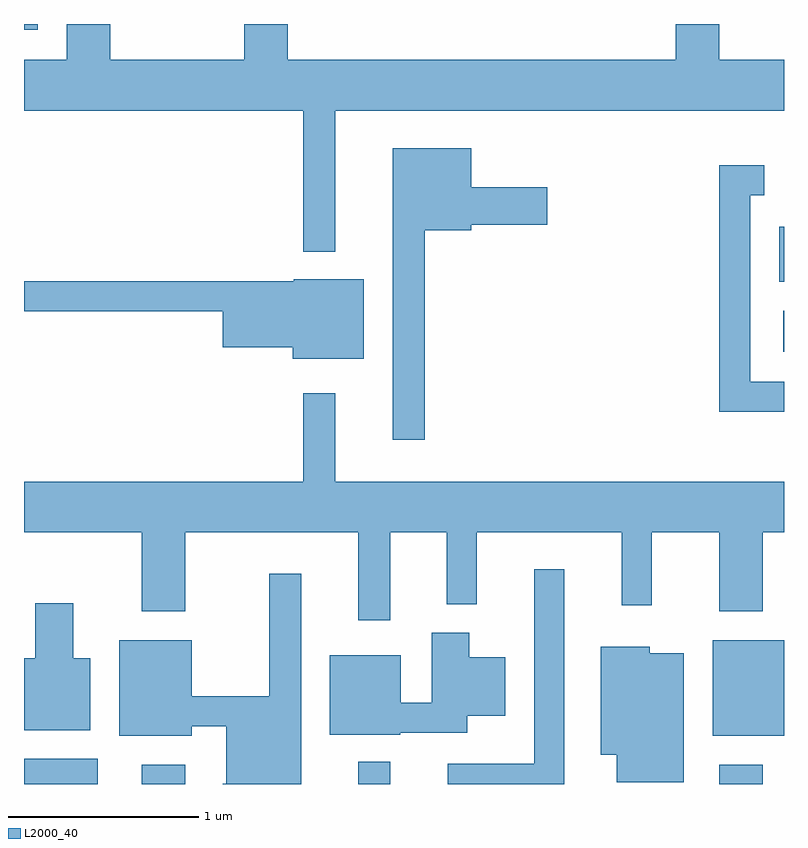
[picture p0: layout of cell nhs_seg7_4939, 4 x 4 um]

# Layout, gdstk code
import gdstk
lib = gdstk.Library(unit=1e-6, precision=1e-09)
def R(c, l, rs):  # rectangles x0, y0, x1, y1
    for r in rs: c.add(gdstk.rectangle(r[:2], r[2:], *l))
def P(c, l, *ps):  # polygons
    for p in ps: c.add(gdstk.Polygon(p, *l))
L2000_40 = (2000, 40)

nhs_seg7_4939 = lib.new_cell('nhs_seg7_4939')
R(nhs_seg7_4939, L2000_40, [(335.611,1786.252,335.999,1786.384), (336.231,1786.252,336.459,1786.354), (337.371,1786.252,337.539,1786.368), (339.271,1786.252,339.499,1786.354), (339.236,1786.506,339.611,1787.009), (339.606,1788.526,339.611,1788.744), (339.586,1788.896,339.611,1789.184), (335.611,1790.221,335.684,1790.252)])
P(nhs_seg7_4939, L2000_40, [(337.249,1789.796),(339.611,1789.796),(339.611,1790.064),(339.269,1790.064),(339.269,1790.252),(339.041,1790.252),(339.041,1790.064),(336.999,1790.064),(336.999,1790.252),(336.771,1790.252),(336.771,1790.064),(336.064,1790.064),(336.064,1790.252),(335.836,1790.252),(335.836,1790.064),(335.611,1790.064),(335.611,1789.796),(337.081,1789.796),(337.081,1789.053),(337.249,1789.053)],
  [(337.719,1789.166),(337.964,1789.166),(337.964,1789.196),(338.364,1789.196),(338.364,1789.394),(337.964,1789.394),(337.964,1789.599),(337.551,1789.599),(337.551,1788.063),(337.719,1788.063)],
  [(339.611,1788.369),(339.434,1788.369),(339.434,1789.351),(339.508,1789.351),(339.508,1789.509),(339.271,1789.509),(339.271,1788.211),(339.611,1788.211)],
  [(337.399,1788.909),(337.03,1788.909),(337.03,1788.899),(335.611,1788.899),(335.611,1788.741),(336.656,1788.741),(336.656,1788.551),(337.026,1788.551),(337.026,1788.491),(337.399,1788.491)],
  [(337.249,1788.308),(337.081,1788.308),(337.081,1787.844),(335.611,1787.844),(335.611,1787.576),(336.231,1787.576),(336.231,1787.161),(336.459,1787.161),(336.459,1787.576),(337.371,1787.576),(337.371,1787.113),(337.539,1787.113),(337.539,1787.576),(337.836,1787.576),(337.836,1787.198),(337.994,1787.198),(337.994,1787.576),(338.756,1787.576),(338.756,1787.193),(338.914,1787.193),(338.914,1787.576),(339.271,1787.576),(339.271,1787.161),(339.499,1787.161),(339.499,1787.576),(339.611,1787.576),(339.611,1787.844),(337.249,1787.844)],
  [(338.454,1787.383),(338.296,1787.383),(338.296,1786.359),(337.841,1786.359),(337.841,1786.252),(338.454,1786.252)],
  [(337.069,1787.358),(336.901,1787.358),(336.901,1786.714),(336.494,1786.714),(336.494,1787.009),(336.111,1787.009),(336.111,1786.506),(336.494,1786.506),(336.494,1786.556),(336.676,1786.556),(336.676,1786.254),(336.656,1786.254),(336.656,1786.252),(337.069,1786.252)],
  [(335.959,1786.914),(335.869,1786.914),(335.869,1787.204),(335.671,1787.204),(335.671,1786.914),(335.611,1786.914),(335.611,1786.536),(335.959,1786.536)],
  [(337.59,1786.521),(337.944,1786.521),(337.944,1786.611),(338.144,1786.611),(338.144,1786.919),(337.954,1786.919),(337.954,1787.049),(337.756,1787.049),(337.756,1786.679),(337.594,1786.679),(337.594,1786.929),(337.221,1786.929),(337.221,1786.511),(337.59,1786.511)],
  [(339.084,1786.939),(338.904,1786.939),(338.904,1786.974),(338.646,1786.974),(338.646,1786.406),(338.731,1786.406),(338.731,1786.261),(339.084,1786.261)])

lib.write_gds('nhs_seg7_4939.gds')
